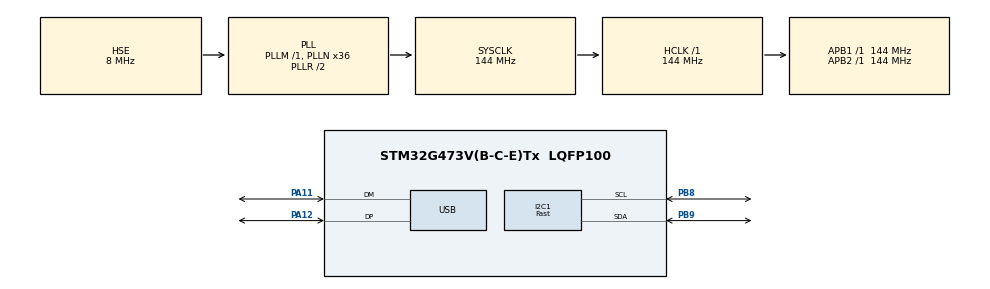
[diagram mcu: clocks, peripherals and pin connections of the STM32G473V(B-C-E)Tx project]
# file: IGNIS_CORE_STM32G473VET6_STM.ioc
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I2C1.I2C_Speed_Mode=I2C_Fast
I2C1.Timing=0x10E32674
Mcu.Family=STM32G4
Mcu.Name=STM32G473V(B-C-E)Tx
Mcu.Package=LQFP100
NVIC.PriorityGroup=NVIC_PRIORITYGROUP_4
NVIC.USB_LP_IRQn=true\:0\:0\:false\:false\:true\:false\:true\:true
PA11.Mode=Device
PA11.Signal=USB_DM
PA12.Mode=Device
PA12.Signal=USB_DP
PB8-BOOT0.Mode=I2C
PB8-BOOT0.Signal=I2C1_SCL
PB9.Mode=I2C
PB9.Signal=I2C1_SDA
PF0-OSC_IN.Mode=HSE-External-Oscillator
PF0-OSC_IN.Signal=RCC_OSC_IN
PF1-OSC_OUT.Mode=HSE-External-Oscillator
PF1-OSC_OUT.Signal=RCC_OSC_OUT
ProjectManager.HeapSize=0x200
ProjectManager.StackSize=0x400
ProjectManager.TargetToolchain=STM32CubeIDE
RCC.ADC12Freq_Value=144000000
RCC.ADC345Freq_Value=144000000
RCC.AHBFreq_Value=144000000
RCC.APB1Freq_Value=144000000
RCC.APB1TimFreq_Value=144000000
RCC.APB2Freq_Value=144000000
RCC.APB2TimFreq_Value=144000000
RCC.CortexFreq_Value=144000000
RCC.EXTERNAL_CLOCK_VALUE=12288000
RCC.HCLKFreq_Value=144000000
RCC.HSE_VALUE=8000000
RCC.HSI48_VALUE=48000000
RCC.HSI_VALUE=16000000
RCC.LSE_VALUE=32768
RCC.PLLN=36
RCC.PLLQ=RCC_PLLQ_DIV6
RCC.PLLSourceVirtual=RCC_PLLSOURCE_HSE
RCC.SYSCLKFreq_VALUE=144000000
RCC.SYSCLKSource=RCC_SYSCLKSOURCE_PLLCLK
RCC.USBFreq_Value=48000000
RCC.VCOOutputFreq_Value=288000000
USB_DEVICE.CLASS_NAME_FS=CDC
USB_DEVICE.VirtualMode=Cdc
USB_DEVICE.VirtualModeFS=Cdc_FS
VP_SYS_VS_DBSignals.Mode=DisableDeadBatterySignals
VP_USB_DEVICE_VS_USB_DEVICE_CDC_FS.Mode=CDC_FS
board=custom

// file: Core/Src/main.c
/* USER CODE BEGIN Header */
/**
  ******************************************************************************
  * @file           : main.c
  * @brief          : Main program body
  ******************************************************************************
  * @attention
  *
  * Copyright (c) 2026 STMicroelectronics.
  * All rights reserved.
  *
  * This software is licensed under terms that can be found in the LICENSE file
  * in the root directory of this software component.
  * If no LICENSE file comes with this software, it is provided AS-IS.
  *
  ******************************************************************************
  */
/* USER CODE END Header */
#include "main.h"
#include "usb_device.h"
#include "usbd_cdc_if.h"   // for CDC_Transmit_FS
#include <string.h>
#include <stdio.h>          // for sprintf

I2C_HandleTypeDef hi2c1;

void SystemClock_Config(void);
static void MX_GPIO_Init(void);
static void MX_I2C1_Init(void);

/* USER CODE BEGIN 0 */
char *usb_msg = "Hello From G4 Series\n";   // renamed to avoid conflict
/* USER CODE END 0 */

int main(void)
{

  /* MCU Configuration--------------------------------------------------------*/

  /* Reset of all peripherals, Initializes the Flash interface and the Systick. */
  HAL_Init();

  /* Configure the system clock */
  SystemClock_Config();

  /* Initialize all configured peripherals */
  MX_GPIO_Init();
  MX_USB_Device_Init();
  MX_I2C1_Init();

  /* USER CODE BEGIN 2 */
  // Wait for USB to be ready
  HAL_Delay(1000);
  CDC_Transmit_FS((uint8_t*)"\r\nIGNIS G473 I2C Test\r\n", 22);

  // --- I2C Scanner ---
  uint8_t i2c_data;
  char buf[64];
  for (uint8_t addr = 1; addr < 127; addr++) {
    if (HAL_I2C_Mem_Read(&hi2c1, (addr << 1), 0, 1, &i2c_data, 1, 100) == HAL_OK) {
      sprintf(buf, "Found I2C device at 0x%02X\r\n", addr);
      CDC_Transmit_FS((uint8_t*)buf, strlen(buf));
      HAL_Delay(10);  // small delay to avoid flooding USB
    }
  }

  // --- MPU6500 WHO_AM_I test ---
  uint8_t whoami;
  if (HAL_I2C_Mem_Read(&hi2c1, (0x68 << 1), 0x75, 1, &whoami, 1, 100) == HAL_OK) {
    sprintf(buf, "MPU6500 WHO_AM_I = 0x%02X (expected 0x70)\r\n", whoami);
    CDC_Transmit_FS((uint8_t*)buf, strlen(buf));
  } else {
    CDC_Transmit_FS((uint8_t*)"MPU6500 not found\r\n", 19);
  }

  CDC_Transmit_FS((uint8_t*)"I2C scan complete.\r\n", 20);
  /* USER CODE END 2 */

  /* Infinite loop */
  while (1)
  {
    /* USER CODE BEGIN 3 */
    // You can later add periodic sensor reading here
    HAL_Delay(1000);
    // For now, just send heartbeat
    CDC_Transmit_FS((uint8_t*)usb_msg, strlen(usb_msg));
    /* USER CODE END 3 */
  }
}

void SystemClock_Config(void)
{
  RCC_OscInitTypeDef RCC_OscInitStruct = {0};
  RCC_ClkInitTypeDef RCC_ClkInitStruct = {0};

  /** Configure the main internal regulator output voltage
  */
  HAL_PWREx_ControlVoltageScaling(PWR_REGULATOR_VOLTAGE_SCALE1);

  /** Initializes the RCC Oscillators according to the specified parameters
  * in the RCC_OscInitTypeDef structure.
  */
  RCC_OscInitStruct.OscillatorType = RCC_OSCILLATORTYPE_HSE;
  RCC_OscInitStruct.HSEState = RCC_HSE_ON;
  RCC_OscInitStruct.PLL.PLLState = RCC_PLL_ON;
  RCC_OscInitStruct.PLL.PLLSource = RCC_PLLSOURCE_HSE;
  RCC_OscInitStruct.PLL.PLLM = RCC_PLLM_DIV1;
  RCC_OscInitStruct.PLL.PLLN = 36;
  RCC_OscInitStruct.PLL.PLLP = RCC_PLLP_DIV2;
  RCC_OscInitStruct.PLL.PLLQ = RCC_PLLQ_DIV6;
  RCC_OscInitStruct.PLL.PLLR = RCC_PLLR_DIV2;
  if (HAL_RCC_OscConfig(&RCC_OscInitStruct) != HAL_OK)
  {
    Error_Handler();
  }

  /** Initializes the CPU, AHB and APB buses clocks
  */
  RCC_ClkInitStruct.ClockType = RCC_CLOCKTYPE_HCLK|RCC_CLOCKTYPE_SYSCLK
                              |RCC_CLOCKTYPE_PCLK1|RCC_CLOCKTYPE_PCLK2;
  RCC_ClkInitStruct.SYSCLKSource = RCC_SYSCLKSOURCE_PLLCLK;
  RCC_ClkInitStruct.AHBCLKDivider = RCC_SYSCLK_DIV1;
  RCC_ClkInitStruct.APB1CLKDivider = RCC_HCLK_DIV1;
  RCC_ClkInitStruct.APB2CLKDivider = RCC_HCLK_DIV1;

  if (HAL_RCC_ClockConfig(&RCC_ClkInitStruct, FLASH_LATENCY_4) != HAL_OK)
  {
    Error_Handler();
  }
}

static void MX_I2C1_Init(void)
{

  hi2c1.Instance = I2C1;
  hi2c1.Init.Timing = 0x10E32674;
  hi2c1.Init.OwnAddress1 = 0;
  hi2c1.Init.AddressingMode = I2C_ADDRESSINGMODE_7BIT;
  hi2c1.Init.DualAddressMode = I2C_DUALADDRESS_DISABLE;
  hi2c1.Init.OwnAddress2 = 0;
  hi2c1.Init.OwnAddress2Masks = I2C_OA2_NOMASK;
  hi2c1.Init.GeneralCallMode = I2C_GENERALCALL_DISABLE;
  hi2c1.Init.NoStretchMode = I2C_NOSTRETCH_DISABLE;
  if (HAL_I2C_Init(&hi2c1) != HAL_OK)
  {
    Error_Handler();
  }

  /** Configure Analogue filter
  */
  if (HAL_I2CEx_ConfigAnalogFilter(&hi2c1, I2C_ANALOGFILTER_ENABLE) != HAL_OK)
  {
    Error_Handler();
  }

  /** Configure Digital filter
  */
  if (HAL_I2CEx_ConfigDigitalFilter(&hi2c1, 0) != HAL_OK)
  {
    Error_Handler();
  }
}

static void MX_GPIO_Init(void)
{
  /* GPIO Ports Clock Enable */
  __HAL_RCC_GPIOF_CLK_ENABLE();
  __HAL_RCC_GPIOA_CLK_ENABLE();
  __HAL_RCC_GPIOB_CLK_ENABLE();

}

void Error_Handler(void)
{
  __disable_irq();
  while (1)
  {
  }
}
